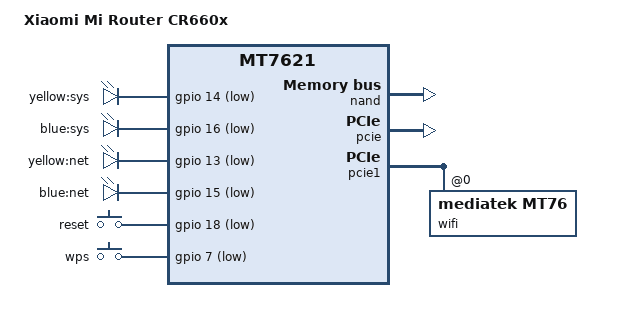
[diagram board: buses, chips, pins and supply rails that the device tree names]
// SPDX-License-Identifier: GPL-2.0-or-later OR MIT

#include "mt7621.dtsi"

#include <dt-bindings/gpio/gpio.h>
#include <dt-bindings/input/input.h>

/ {
	compatible = "xiaomi,mi-router-cr660x", "mediatek,mt7621-soc";
	model = "Xiaomi Mi Router CR660x";

	aliases {
		led-boot = &led_sys_yellow;
		led-failsafe = &led_sys_yellow;
		led-running = &led_sys_blue;
		led-upgrade = &led_sys_yellow;
		label-mac-device = &ethernet;
	};

	chosen {
		bootargs = "console=ttyS0,115200n8";
	};

	leds {
		compatible = "gpio-leds";

		led_sys_yellow: sys_yellow {
			label = "yellow:sys";
			gpios = <&gpio 14 GPIO_ACTIVE_LOW>;
		};

		led_sys_blue: sys_blue {
			label = "blue:sys";
			gpios = <&gpio 16 GPIO_ACTIVE_LOW>;
		};

		net_yellow {
			label = "yellow:net";
			gpios = <&gpio 13 GPIO_ACTIVE_LOW>;
		};

		net_blue {
			label = "blue:net";
			gpios = <&gpio 15 GPIO_ACTIVE_LOW>;
		};
	};

	keys {
		compatible = "gpio-keys";

		reset {
			label = "reset";
			gpios = <&gpio 18 GPIO_ACTIVE_LOW>;
			linux,code = <KEY_RESTART>;
		};

		wps {
			label = "wps";
			gpios = <&gpio 7 GPIO_ACTIVE_LOW>;
			linux,code = <KEY_WPS_BUTTON>;
		};
	};
};

&nand {
	status = "okay";

	partitions {
		compatible = "fixed-partitions";
		#address-cells = <1>;
		#size-cells = <1>;

		partition@0 {
			label = "Bootloader";
			reg = <0x0 0x80000>;
		};

		partition@80000 {
			label = "Nvram";
			reg = <0x80000 0x40000>;
			read-only;
		};

		partition@c0000 {
			label = "Bdata";
			reg = <0xc0000 0x40000>;
			read-only;
		};

		factory: partition@100000 {
			label = "Factory";
			reg = <0x100000 0x80000>;
			read-only;
		};

		partition@180000 {
			label = "crash";
			reg = <0x180000 0x40000>;
			read-only;
		};

		partition@1c0000 {
			label = "crash_log";
			reg = <0x1c0000 0x40000>;
			read-only;
		};

		partition@200000 {
			label = "kernel";
			reg = <0x200000 0x400000>;
		};

		partition@600000 {
			label = "ubi";
			reg = <0x600000 0x7980000>;
		};
	};
};

&pcie {
	status = "okay";
};

&pcie1 {
	wifi@0,0 {
		compatible = "mediatek,mt76";
		reg = <0x0000 0 0 0 0>;
		mediatek,mtd-eeprom = <&factory 0x0>;
	};
};

&ethernet {
	compatible = "mediatek,ralink-mt7621-eth";
	mediatek,switch = <&gsw>;
	mtd-mac-address = <&factory 0x3fff4>;
};

&switch0 {
	/delete-property/ compatible;
	phy-mode = "rgmii";
};

&gsw {
	compatible = "mediatek,ralink-mt7621-gsw";
};

&state_default {
	gpio {
		groups = "jtag", "uart3", "wdt";
		function = "gpio";
	};
};
